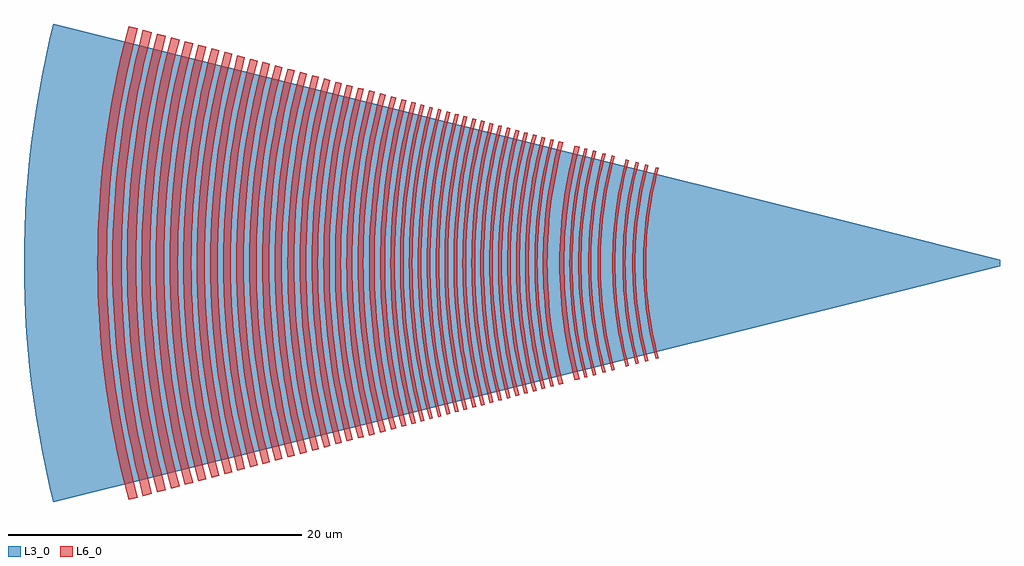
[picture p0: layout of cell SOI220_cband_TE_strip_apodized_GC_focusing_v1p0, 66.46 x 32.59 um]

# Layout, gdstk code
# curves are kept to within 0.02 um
import gdstk
lib = gdstk.Library(unit=1e-6, precision=1e-09)
def P(c, l, *ps):  # polygons
    for p in ps: c.add(gdstk.Polygon(p, *l))
L3_0 = (3, 0)
L6_0 = (6, 0)

soi220_cband_te_strip_ap = lib.new_cell('SOI220_cband_TE_strip_apodized_GC_focusing_v1p0')
P(soi220_cband_te_strip_ap, L3_0, [(-64.455,-16.295),(-64.984,-14.005),(-65.433,-11.697),(-65.627,-10.537),(-65.954,-8.209),(-66.2,-5.871),(-66.364,-3.525),(-66.446,-1.176),(-66.456,0),(-66.446,1.176),(-66.364,3.525),(-66.2,5.871),(-65.954,8.209),(-65.627,10.537),(-65.433,11.697),(-64.984,14.005),(-64.455,16.295),(0,0.225),(0,-0.225)])
P(soi220_cband_te_strip_ap, L6_0, [(-23.44,-6.52),(-23.835,-4.808),(-24.111,-3.071),(-24.264,-1.319),(-24.298,0),(-24.264,1.319),(-24.111,3.071),(-23.835,4.808),(-23.44,6.52),(-23.246,6.47),(-23.639,4.77),(-23.912,3.047),(-24.064,1.308),(-24.098,0),(-24.064,-1.308),(-23.912,-3.047),(-23.639,-4.77),(-23.246,-6.47)],
  [(-24.146,-6.71),(-24.463,-5.391),(-24.777,-3.609),(-24.966,-1.809),(-25.029,0),(-24.966,1.809),(-24.777,3.609),(-24.463,5.391),(-24.146,6.71),(-23.952,6.66),(-24.267,5.35),(-24.579,3.581),(-24.766,1.795),(-24.829,0),(-24.766,-1.795),(-24.579,-3.581),(-24.267,-5.35),(-23.952,-6.66)],
  [(-24.794,-6.883),(-25.211,-5.076),(-25.502,-3.242),(-25.636,-1.856),(-25.7,0),(-25.636,1.856),(-25.502,3.242),(-25.211,5.076),(-24.794,6.883),(-24.6,6.833),(-25.015,5.038),(-25.243,3.674),(-25.436,1.842),(-25.5,0),(-25.436,-1.842),(-25.243,-3.674),(-25.015,-5.038),(-24.6,-6.833)],
  [(-25.466,-7.063),(-25.799,-5.675),(-26.129,-3.799),(-26.329,-1.904),(-26.395,0),(-26.329,1.904),(-26.129,3.799),(-25.799,5.675),(-25.466,7.063),(-25.272,7.013),(-25.697,5.17),(-25.993,3.302),(-26.158,1.418),(-26.195,0),(-26.158,-1.418),(-25.993,-3.302),(-25.697,-5.17),(-25.272,-7.013)],
  [(-26.432,-7.322),(-26.875,-5.399),(-27.185,-3.448),(-27.327,-1.974),(-27.395,0),(-27.327,1.974),(-27.185,3.448),(-26.875,5.399),(-26.432,7.322),(-26.238,7.272),(-26.679,5.361),(-26.986,3.424),(-27.127,1.96),(-27.195,0),(-27.127,-1.96),(-26.986,-3.424),(-26.679,-5.361),(-26.238,-7.272)],
  [(-27.048,-7.487),(-27.501,-5.521),(-27.817,-3.527),(-27.994,-1.514),(-28.033,0),(-27.994,1.514),(-27.817,3.527),(-27.501,5.521),(-27.048,7.487),(-26.854,7.437),(-27.305,5.483),(-27.619,3.502),(-27.794,1.504),(-27.833,0),(-27.794,-1.504),(-27.619,-3.502),(-27.305,-5.483),(-26.854,-7.437)],
  [(-27.701,-7.662),(-28.165,-5.65),(-28.489,-3.608),(-28.669,-1.55),(-28.709,0),(-28.669,1.55),(-28.489,3.608),(-28.165,5.65),(-27.701,7.662),(-27.507,7.612),(-27.969,5.612),(-28.223,4.093),(-28.437,2.052),(-28.509,0),(-28.437,-2.052),(-28.223,-4.093),(-27.969,-5.612),(-27.507,-7.612)],
  [(-28.286,-7.819),(-28.76,-5.766),(-29.09,-3.682),(-29.242,-2.108),(-29.315,0),(-29.242,2.108),(-29.09,3.682),(-28.76,5.766),(-28.286,7.819),(-28.092,7.769),(-28.564,5.728),(-28.823,4.178),(-29.042,2.094),(-29.115,0),(-29.042,-2.094),(-28.823,-4.178),(-28.564,-5.728),(-28.092,-7.769)],
  [(-28.947,-7.995),(-29.325,-6.424),(-29.7,-4.3),(-29.925,-2.155),(-30,0),(-29.925,2.155),(-29.7,4.3),(-29.325,6.424),(-28.947,7.995),(-28.623,7.911),(-28.997,6.355),(-29.368,4.254),(-29.591,2.132),(-29.665,0),(-29.591,-2.132),(-29.368,-4.254),(-28.997,-6.355),(-28.623,-7.911)],
  [(-30.036,-8.287),(-30.538,-6.112),(-30.889,-3.903),(-31.084,-1.676),(-31.127,0),(-31.084,1.676),(-30.889,3.903),(-30.538,6.112),(-30.036,8.287),(-29.734,8.209),(-30.232,6.052),(-30.579,3.865),(-30.772,1.66),(-30.815,0),(-30.772,-1.66),(-30.579,-3.865),(-30.232,-6.052),(-29.734,-8.209)],
  [(-30.582,-8.434),(-30.857,-7.332),(-31.093,-6.219),(-31.291,-5.099),(-31.45,-3.972),(-31.648,-1.705),(-31.692,0),(-31.648,1.705),(-31.45,3.972),(-31.291,5.099),(-31.093,6.219),(-30.857,7.332),(-30.582,8.434),(-30.388,8.384),(-30.662,7.287),(-30.897,6.181),(-31.251,3.948),(-31.448,1.695),(-31.492,0),(-31.448,-1.695),(-31.251,-3.948),(-30.897,-6.181),(-30.662,-7.287),(-30.388,-8.384)],
  [(-31.206,-8.601),(-31.487,-7.477),(-31.727,-6.343),(-32.015,-4.626),(-32.156,-3.474),(-32.257,-2.319),(-32.318,-1.16),(-32.338,0),(-32.318,1.16),(-32.257,2.319),(-32.156,3.474),(-32.015,4.626),(-31.727,6.343),(-31.487,7.477),(-31.206,8.601),(-30.96,8.537),(-31.239,7.42),(-31.478,6.294),(-31.763,4.591),(-32.004,2.301),(-32.064,1.151),(-32.084,0),(-32.064,-1.151),(-32.004,-2.301),(-31.763,-4.591),(-31.478,-6.294),(-31.239,-7.42),(-30.96,-8.537)],
  [(-31.796,-8.76),(-32.082,-7.614),(-32.328,-6.459),(-32.62,-4.711),(-32.764,-3.539),(-32.866,-2.361),(-32.929,-1.182),(-32.949,0),(-32.929,1.182),(-32.866,2.361),(-32.764,3.539),(-32.62,4.711),(-32.328,6.459),(-32.082,7.614),(-31.796,8.76),(-31.558,8.698),(-31.842,7.559),(-32.086,6.412),(-32.453,4.095),(-32.575,2.929),(-32.657,1.759),(-32.703,0),(-32.657,-1.759),(-32.575,-2.929),(-32.453,-4.095),(-32.086,-6.412),(-31.842,-7.559),(-31.558,-8.698)],
  [(-32.379,-8.916),(-32.669,-7.75),(-32.919,-6.574),(-33.217,-4.795),(-33.364,-3.601),(-33.468,-2.403),(-33.531,-1.202),(-33.552,0),(-33.531,1.202),(-33.468,2.403),(-33.364,3.601),(-33.217,4.795),(-32.919,6.574),(-32.669,7.75),(-32.379,8.916),(-32.155,8.858),(-32.444,7.698),(-32.692,6.53),(-32.9,5.354),(-33.066,4.171),(-33.238,2.387),(-33.3,1.194),(-33.321,0),(-33.3,-1.194),(-33.238,-2.387),(-33.066,-4.171),(-32.9,-5.354),(-32.692,-6.53),(-32.444,-7.698),(-32.155,-8.858)],
  [(-32.975,-9.076),(-33.404,-7.292),(-33.637,-6.09),(-33.829,-4.881),(-33.978,-3.666),(-34.084,-2.446),(-34.149,-1.224),(-34.17,0),(-34.149,1.224),(-34.084,2.446),(-33.978,3.666),(-33.829,4.881),(-33.637,6.09),(-33.404,7.292),(-32.975,9.076),(-32.733,9.013),(-33.159,7.24),(-33.391,6.047),(-33.581,4.846),(-33.729,3.64),(-33.835,2.429),(-33.899,1.215),(-33.92,0),(-33.899,-1.215),(-33.835,-2.429),(-33.729,-3.64),(-33.581,-4.846),(-33.391,-6.047),(-33.159,-7.24),(-32.733,-9.013)],
  [(-33.555,-9.231),(-33.856,-8.025),(-34.115,-6.806),(-34.423,-4.964),(-34.575,-3.729),(-34.683,-2.489),(-34.748,-1.245),(-34.77,0),(-34.748,1.245),(-34.683,2.489),(-34.575,3.729),(-34.423,4.964),(-34.115,6.806),(-33.856,8.025),(-33.555,9.231),(-33.336,9.174),(-33.636,7.974),(-33.893,6.763),(-34.108,5.545),(-34.28,4.32),(-34.458,2.473),(-34.522,1.237),(-34.544,0),(-34.522,-1.237),(-34.458,-2.473),(-34.28,-4.32),(-34.108,-5.545),(-33.893,-6.763),(-33.636,-7.974),(-33.336,-9.174)],
  [(-34.144,-9.388),(-34.449,-8.161),(-34.713,-6.923),(-35.026,-5.049),(-35.181,-3.792),(-35.29,-2.531),(-35.357,-1.266),(-35.379,0),(-35.357,1.266),(-35.29,2.531),(-35.181,3.792),(-35.026,5.049),(-34.713,6.923),(-34.449,8.161),(-34.144,9.388),(-33.92,9.33),(-34.224,8.109),(-34.486,6.879),(-34.797,5.017),(-34.951,3.768),(-35.06,2.515),(-35.126,1.258),(-35.148,0),(-35.126,-1.258),(-35.06,-2.515),(-34.951,-3.768),(-34.797,-5.017),(-34.486,-6.879),(-34.224,-8.109),(-33.92,-9.33)],
  [(-34.733,-9.546),(-35.045,-8.299),(-35.313,-7.04),(-35.631,-5.134),(-35.788,-3.857),(-35.9,-2.573),(-35.968,-1.287),(-35.99,0),(-35.968,1.287),(-35.9,2.573),(-35.788,3.857),(-35.631,5.134),(-35.313,7.04),(-35.045,8.299),(-34.733,9.546),(-34.496,9.485),(-34.806,8.244),(-35.072,6.993),(-35.294,5.733),(-35.472,4.466),(-35.656,2.556),(-35.723,1.279),(-35.745,0),(-35.695,-1.918),(-35.606,-3.194),(-35.472,-4.466),(-35.294,-5.733),(-35.072,-6.993),(-34.806,-8.244),(-34.496,-9.485)],
  [(-35.324,-9.705),(-35.783,-7.797),(-36.032,-6.513),(-36.237,-5.219),(-36.397,-3.921),(-36.51,-2.616),(-36.579,-1.309),(-36.602,0),(-36.579,1.309),(-36.51,2.616),(-36.397,3.921),(-36.237,5.219),(-36.032,6.513),(-35.783,7.797),(-35.324,9.705),(-35.086,9.643),(-35.401,8.381),(-35.671,7.109),(-35.897,5.828),(-36.078,4.541),(-36.214,3.247),(-36.305,1.95),(-36.356,0),(-36.305,-1.95),(-36.214,-3.247),(-36.078,-4.541),(-35.897,-5.828),(-35.671,-7.109),(-35.401,-8.381),(-35.086,-9.643)],
  [(-35.913,-9.862),(-36.234,-8.574),(-36.51,-7.273),(-36.742,-5.962),(-36.927,-4.645),(-37.066,-3.322),(-37.159,-1.995),(-37.211,0),(-37.159,1.995),(-37.066,3.322),(-36.927,4.645),(-36.742,5.962),(-36.51,7.273),(-36.234,8.574),(-35.913,9.862),(-35.677,9.801),(-35.996,8.519),(-36.271,7.226),(-36.501,5.924),(-36.685,4.615),(-36.875,2.642),(-36.944,1.322),(-36.967,0),(-36.944,-1.322),(-36.875,-2.642),(-36.685,-4.615),(-36.501,-5.924),(-36.271,-7.226),(-35.996,-8.519),(-35.677,-9.801)],
  [(-36.499,-10.019),(-36.826,-8.71),(-37.107,-7.388),(-37.442,-5.388),(-37.606,-4.047),(-37.723,-2.701),(-37.795,-1.351),(-37.818,0),(-37.795,1.351),(-37.723,2.701),(-37.606,4.047),(-37.442,5.388),(-37.107,7.388),(-36.826,8.71),(-36.499,10.019),(-36.267,9.959),(-36.592,8.656),(-36.871,7.342),(-37.204,5.355),(-37.367,4.022),(-37.484,2.684),(-37.555,1.343),(-37.578,0),(-37.555,-1.343),(-37.484,-2.684),(-37.367,-4.022),(-37.204,-5.355),(-36.871,-7.342),(-36.592,-8.656),(-36.267,-9.959)],
  [(-37.081,-10.175),(-37.562,-8.176),(-37.823,-6.828),(-38.039,-5.473),(-38.206,-4.111),(-38.325,-2.743),(-38.397,-1.372),(-38.421,0),(-38.397,1.372),(-38.325,2.743),(-38.206,4.111),(-38.039,5.473),(-37.823,6.828),(-37.562,8.176),(-37.081,10.175),(-36.853,10.116),(-37.331,8.127),(-37.591,6.787),(-37.805,5.44),(-37.971,4.086),(-38.09,2.727),(-38.161,1.364),(-38.185,0),(-38.161,-1.364),(-38.09,-2.727),(-37.971,-4.086),(-37.805,-5.44),(-37.591,-6.787),(-37.331,-8.127),(-36.853,-10.116)],
  [(-37.668,-10.333),(-38.157,-8.302),(-38.422,-6.934),(-38.641,-5.557),(-38.811,-4.174),(-38.931,-2.786),(-39.005,-1.393),(-39.029,0),(-39.005,1.393),(-38.931,2.786),(-38.811,4.174),(-38.641,5.557),(-38.422,6.934),(-38.157,8.302),(-37.668,10.333),(-37.438,10.273),(-37.924,8.253),(-38.188,6.893),(-38.405,5.524),(-38.574,4.149),(-38.694,2.769),(-38.767,1.385),(-38.791,0),(-38.767,-1.385),(-38.694,-2.769),(-38.574,-4.149),(-38.405,-5.524),(-38.188,-6.893),(-37.924,-8.253),(-37.438,-10.273)],
  [(-38.256,-10.491),(-38.751,-8.429),(-39.022,-7.039),(-39.243,-5.641),(-39.415,-4.238),(-39.538,-2.828),(-39.612,-1.415),(-39.637,0),(-39.612,1.415),(-39.538,2.828),(-39.415,4.238),(-39.243,5.641),(-39.022,7.039),(-38.751,8.429),(-38.256,10.491),(-38.037,10.434),(-38.378,9.068),(-38.799,7),(-39.019,5.61),(-39.19,4.214),(-39.356,2.11),(-39.411,0),(-39.356,-2.11),(-39.19,-4.214),(-39.019,-5.61),(-38.799,-7),(-38.378,-9.068),(-38.037,-10.434)],
  [(-38.844,-10.648),(-39.347,-8.555),(-39.621,-7.146),(-39.846,-5.726),(-40.021,-4.301),(-40.145,-2.871),(-40.221,-1.436),(-40.246,0),(-40.221,1.436),(-40.145,2.871),(-40.021,4.301),(-39.846,5.726),(-39.621,7.146),(-39.347,8.555),(-38.844,10.648),(-38.612,10.588),(-38.958,9.202),(-39.385,7.104),(-39.608,5.693),(-39.782,4.276),(-39.95,2.141),(-40.006,0),(-39.95,-2.141),(-39.782,-4.276),(-39.608,-5.693),(-39.385,-7.104),(-38.958,-9.202),(-38.612,-10.588)],
  [(-39.425,-10.804),(-39.936,-8.68),(-40.213,-7.25),(-40.442,-5.81),(-40.62,-4.364),(-40.746,-2.913),(-40.823,-1.457),(-40.848,0),(-40.823,1.457),(-40.746,2.913),(-40.62,4.364),(-40.442,5.81),(-40.213,7.25),(-39.936,8.68),(-39.425,10.804),(-39.196,10.744),(-39.547,9.338),(-39.848,7.921),(-40.1,6.494),(-40.384,4.339),(-40.554,2.173),(-40.611,0),(-40.554,-2.173),(-40.384,-4.339),(-40.1,-6.494),(-39.848,-7.921),(-39.547,-9.338),(-39.196,-10.744)],
  [(-40.06,-10.973),(-40.418,-9.539),(-40.725,-8.091),(-40.981,-6.634),(-41.188,-5.168),(-41.343,-3.696),(-41.446,-2.219),(-41.504,0),(-41.446,2.219),(-41.343,3.696),(-41.188,5.168),(-40.981,6.634),(-40.725,8.091),(-40.418,9.539),(-40.06,10.973),(-39.778,10.9),(-40.134,9.474),(-40.439,8.036),(-40.694,6.588),(-40.899,5.133),(-41.053,3.671),(-41.155,2.204),(-41.213,0),(-41.155,-2.204),(-41.053,-3.671),(-40.899,-5.133),(-40.694,-6.588),(-40.439,-8.036),(-40.134,-9.474),(-39.778,-10.9)],
  [(-40.739,-11.155),(-41.102,-9.697),(-41.415,-8.226),(-41.788,-6),(-41.971,-4.506),(-42.102,-3.008),(-42.181,-1.505),(-42.207,0),(-42.181,1.505),(-42.102,3.008),(-41.971,4.506),(-41.788,6),(-41.415,8.226),(-41.102,9.697),(-40.739,11.155),(-40.412,11.07),(-40.773,9.621),(-41.083,8.161),(-41.453,5.953),(-41.635,4.471),(-41.765,2.984),(-41.843,1.493),(-41.869,0),(-41.843,-1.493),(-41.765,-2.984),(-41.635,-4.471),(-41.453,-5.953),(-41.083,-8.161),(-40.773,-9.621),(-40.412,-11.07)],
  [(-41.465,-11.349),(-41.834,-9.866),(-42.153,-8.368),(-42.419,-6.861),(-42.632,-5.345),(-42.852,-3.06),(-42.933,-1.531),(-42.959,0),(-42.933,1.531),(-42.852,3.06),(-42.632,5.345),(-42.419,6.861),(-42.153,8.368),(-41.834,9.866),(-41.465,11.349),(-41.107,11.256),(-41.639,9.042),(-41.928,7.552),(-42.166,6.053),(-42.351,4.546),(-42.483,3.034),(-42.563,1.518),(-42.589,0),(-42.563,-1.518),(-42.483,-3.034),(-42.351,-4.546),(-42.166,-6.053),(-41.928,-7.552),(-41.639,-9.042),(-41.107,-11.256)],
  [(-42.204,-11.547),(-42.58,-10.039),(-42.904,-8.515),(-43.174,-6.981),(-43.391,-5.438),(-43.615,-3.113),(-43.697,-1.557),(-43.724,0),(-43.697,1.557),(-43.615,3.113),(-43.391,5.438),(-43.174,6.981),(-42.904,8.515),(-42.58,10.039),(-42.204,11.547),(-41.838,11.452),(-42.212,9.954),(-42.533,8.443),(-42.801,6.922),(-43.016,5.392),(-43.238,3.087),(-43.319,1.544),(-43.346,0),(-43.319,-1.544),(-43.238,-3.087),(-43.016,-5.392),(-42.801,-6.922),(-42.533,-8.443),(-42.212,-9.954),(-41.838,-11.452)],
  [(-42.951,-11.747),(-43.333,-10.212),(-43.663,-8.662),(-43.938,-7.102),(-44.159,-5.532),(-44.386,-3.167),(-44.47,-1.585),(-44.497,0),(-44.47,1.585),(-44.386,3.167),(-44.159,5.532),(-43.938,7.102),(-43.663,8.662),(-43.333,10.212),(-42.951,11.747),(-42.574,11.649),(-42.954,10.125),(-43.281,8.588),(-43.554,7.041),(-43.773,5.485),(-43.937,3.923),(-44.046,2.356),(-44.108,0),(-44.046,-2.356),(-43.937,-3.923),(-43.773,-5.485),(-43.554,-7.041),(-43.281,-8.588),(-42.954,-10.125),(-42.574,-11.649)],
  [(-43.703,-11.948),(-44.093,-10.388),(-44.428,-8.811),(-44.707,-7.223),(-44.932,-5.628),(-45.163,-3.221),(-45.248,-1.612),(-45.276,0),(-45.248,1.612),(-45.163,3.221),(-44.932,5.628),(-44.707,7.223),(-44.428,8.811),(-44.093,10.388),(-43.703,11.948),(-43.317,11.848),(-43.704,10.298),(-44.036,8.735),(-44.313,7.161),(-44.536,5.579),(-44.703,3.99),(-44.814,2.396),(-44.877,0),(-44.814,-2.396),(-44.703,-3.99),(-44.536,-5.579),(-44.313,-7.161),(-44.036,-8.735),(-43.704,-10.298),(-43.317,-11.848)],
  [(-44.464,-12.152),(-44.859,-10.565),(-45.2,-8.961),(-45.485,-7.347),(-45.713,-5.724),(-45.949,-3.276),(-46.035,-1.639),(-46.063,0),(-46.035,1.639),(-45.949,3.276),(-45.713,5.724),(-45.485,7.347),(-45.2,8.961),(-44.859,10.565),(-44.464,12.152),(-44.066,12.049),(-44.459,10.472),(-44.797,8.883),(-45.079,7.283),(-45.305,5.674),(-45.539,3.247),(-45.624,1.625),(-45.652,0),(-45.624,-1.625),(-45.539,-3.247),(-45.305,-5.674),(-45.079,-7.283),(-44.797,-8.883),(-44.459,-10.472),(-44.066,-12.049)],
  [(-45.235,-12.358),(-45.638,-10.744),(-45.984,-9.114),(-46.274,-7.472),(-46.506,-5.821),(-46.746,-3.332),(-46.833,-1.667),(-46.862,0),(-46.833,1.667),(-46.746,3.332),(-46.506,5.821),(-46.274,7.472),(-45.984,9.114),(-45.638,10.744),(-45.235,12.358),(-44.825,12.252),(-45.225,10.649),(-45.568,9.033),(-45.855,7.406),(-46.085,5.769),(-46.323,3.302),(-46.409,1.652),(-46.438,0),(-46.409,-1.652),(-46.323,-3.302),(-46.085,-5.769),(-45.855,-7.406),(-45.568,-9.033),(-45.225,-10.649),(-44.825,-12.252)],
  [(-46.024,-12.569),(-46.433,-10.928),(-46.786,-9.269),(-47.206,-6.761),(-47.412,-5.078),(-47.56,-3.389),(-47.649,-1.695),(-47.678,0),(-47.649,1.695),(-47.56,3.389),(-47.412,5.078),(-47.206,6.761),(-46.786,9.269),(-46.433,10.928),(-46.024,12.569),(-45.597,12.459),(-46.003,10.829),(-46.353,9.185),(-46.769,6.7),(-46.973,5.032),(-47.12,3.358),(-47.208,1.68),(-47.237,0),(-47.208,-1.68),(-47.12,-3.358),(-46.973,-5.032),(-46.769,-6.7),(-46.353,-9.185),(-46.003,-10.829),(-45.597,-12.459)],
  [(-46.834,-12.787),(-47.437,-10.275),(-47.766,-8.582),(-48.037,-6.878),(-48.246,-5.166),(-48.397,-3.447),(-48.487,-1.725),(-48.517,0),(-48.487,1.725),(-48.397,3.447),(-48.246,5.166),(-48.037,6.878),(-47.766,8.582),(-47.437,10.275),(-46.834,12.787),(-46.391,12.672),(-46.989,10.18),(-47.315,8.502),(-47.583,6.814),(-47.791,5.118),(-47.94,3.415),(-48.029,1.709),(-48.059,0),(-48.029,-1.709),(-47.94,-3.415),(-47.791,-5.118),(-47.583,-6.814),(-47.315,-8.502),(-46.989,-10.18),(-46.391,-12.672)],
  [(-47.662,-13.009),(-48.086,-11.309),(-48.45,-9.593),(-48.755,-7.865),(-48.999,-6.127),(-49.252,-3.507),(-49.344,-1.754),(-49.374,0),(-49.344,1.754),(-49.252,3.507),(-48.999,6.127),(-48.755,7.865),(-48.45,9.593),(-48.086,11.309),(-47.662,13.009),(-47.204,12.89),(-47.625,11.203),(-47.986,9.503),(-48.288,7.791),(-48.53,6.069),(-48.78,3.474),(-48.871,1.738),(-48.901,0),(-48.871,-1.738),(-48.78,-3.474),(-48.53,-6.069),(-48.288,-7.791),(-47.986,-9.503),(-47.625,-11.203),(-47.204,-12.89)],
  [(-48.501,-13.233),(-48.932,-11.505),(-49.302,-9.758),(-49.744,-7.118),(-49.961,-5.346),(-50.118,-3.568),(-50.211,-1.785),(-50.242,0),(-50.211,1.785),(-50.118,3.568),(-49.961,5.346),(-49.744,7.118),(-49.302,9.758),(-48.932,11.505),(-48.501,13.233),(-48.032,13.112),(-48.651,10.533),(-48.988,8.797),(-49.265,7.051),(-49.48,5.295),(-49.635,3.534),(-49.727,1.768),(-49.758,0),(-49.727,-1.768),(-49.635,-3.534),(-49.48,-5.295),(-49.265,-7.051),(-48.988,-8.797),(-48.651,-10.533),(-48.032,-13.112)],
  [(-49.346,-13.46),(-49.981,-10.816),(-50.327,-9.033),(-50.612,-7.24),(-50.833,-5.438),(-50.991,-3.628),(-51.087,-1.815),(-51.118,0),(-51.087,1.815),(-50.991,3.628),(-50.833,5.438),(-50.612,7.24),(-50.327,9.033),(-49.981,10.816),(-49.346,13.46),(-48.867,13.336),(-49.497,10.713),(-49.84,8.947),(-50.122,7.171),(-50.341,5.386),(-50.497,3.594),(-50.592,1.798),(-50.623,0),(-50.592,-1.798),(-50.497,-3.594),(-50.341,-5.386),(-50.122,-7.171),(-49.84,-8.947),(-49.497,-10.713),(-48.867,-13.336)],
  [(-50.198,-13.688),(-50.643,-11.9),(-51.027,-10.094),(-51.484,-7.362),(-51.709,-5.53),(-51.87,-3.69),(-51.967,-1.847),(-51.999,0),(-51.967,1.847),(-51.87,3.69),(-51.709,5.53),(-51.484,7.362),(-51.027,10.094),(-50.643,11.9),(-50.198,13.688),(-49.709,13.561),(-50.349,10.894),(-50.698,9.098),(-50.984,7.292),(-51.207,5.477),(-51.366,3.655),(-51.462,1.829),(-51.494,0),(-51.462,-1.829),(-51.366,-3.655),(-51.207,-5.477),(-50.984,-7.292),(-50.698,-9.098),(-50.349,-10.894),(-49.709,-13.561)],
  [(-51.056,-13.917),(-51.509,-12.1),(-51.899,-10.264),(-52.364,-7.486),(-52.592,-5.623),(-52.756,-3.752),(-52.855,-1.877),(-52.887,0),(-52.855,1.877),(-52.756,3.752),(-52.592,5.623),(-52.364,7.486),(-51.899,10.264),(-51.509,12.1),(-51.056,13.917),(-50.556,13.788),(-51.207,11.076),(-51.562,9.251),(-51.853,7.414),(-52.079,5.569),(-52.241,3.716),(-52.339,1.859),(-52.371,0),(-52.339,-1.859),(-52.241,-3.716),(-52.079,-5.569),(-51.853,-7.414),(-51.562,-9.251),(-51.207,-11.076),(-50.556,-13.788)],
  [(-51.92,-14.149),(-52.588,-11.37),(-52.951,-9.495),(-53.25,-7.61),(-53.482,-5.716),(-53.649,-3.815),(-53.749,-1.908),(-53.782,0),(-53.749,1.908),(-53.649,3.815),(-53.482,5.716),(-53.25,7.61),(-52.951,9.495),(-52.588,11.37),(-51.92,14.149),(-51.41,14.017),(-52.072,11.26),(-52.432,9.404),(-52.728,7.537),(-52.958,5.661),(-53.123,3.778),(-53.222,1.89),(-53.255,0),(-53.222,-1.89),(-53.123,-3.778),(-52.958,-5.661),(-52.728,-7.537),(-52.432,-9.404),(-52.072,-11.26),(-51.41,-14.017)],
  [(-52.794,-14.383),(-53.262,-12.504),(-53.666,-10.607),(-54.002,-8.696),(-54.273,-6.775),(-54.552,-3.878),(-54.653,-1.94),(-54.687,0),(-54.653,1.94),(-54.552,3.878),(-54.273,6.775),(-54.002,8.696),(-53.666,10.607),(-53.262,12.504),(-52.794,14.383),(-52.271,14.248),(-52.736,12.383),(-53.136,10.504),(-53.469,8.612),(-53.737,6.709),(-53.938,4.798),(-54.072,2.881),(-54.147,0),(-54.072,-2.881),(-53.938,-4.798),(-53.737,-6.709),(-53.469,-8.612),(-53.136,-10.504),(-52.736,-12.383),(-52.271,-14.248)],
  [(-53.682,-14.621),(-54.159,-12.712),(-54.569,-10.783),(-54.911,-8.84),(-55.186,-6.887),(-55.47,-3.942),(-55.573,-1.972),(-55.607,0),(-55.573,1.972),(-55.47,3.942),(-55.186,6.887),(-54.911,8.84),(-54.569,10.783),(-54.159,12.712),(-53.682,14.621),(-53.145,14.482),(-53.618,12.587),(-54.024,10.677),(-54.363,8.753),(-54.635,6.819),(-54.916,3.903),(-55.018,1.953),(-55.052,0),(-55.018,-1.953),(-54.916,-3.903),(-54.635,-6.819),(-54.363,-8.753),(-54.024,-10.677),(-53.618,-12.587),(-53.145,-14.482)],
  [(-54.587,-14.863),(-55.07,-12.922),(-55.488,-10.961),(-55.836,-8.986),(-56.115,-7),(-56.403,-4.007),(-56.508,-2.005),(-56.543,0),(-56.508,2.005),(-56.403,4.007),(-56.115,7),(-55.836,8.986),(-55.488,10.961),(-55.07,12.922),(-54.587,14.863),(-54.034,14.72),(-54.729,11.825),(-55.108,9.876),(-55.419,7.915),(-55.66,5.945),(-55.833,3.967),(-55.937,1.985),(-55.972,0),(-55.937,-1.985),(-55.833,-3.967),(-55.66,-5.945),(-55.419,-7.915),(-55.108,-9.876),(-54.729,-11.825),(-54.034,-14.72)],
  [(-55.506,-15.109),(-55.998,-13.136),(-56.422,-11.143),(-56.776,-9.135),(-57.06,-7.117),(-57.353,-4.074),(-57.46,-2.038),(-57.495,0),(-57.46,2.038),(-57.353,4.074),(-57.06,7.117),(-56.776,9.135),(-56.422,11.143),(-55.998,13.136),(-55.506,15.109),(-54.938,14.962),(-55.426,13.004),(-55.846,11.031),(-56.196,9.043),(-56.477,7.045),(-56.688,5.038),(-56.829,3.026),(-56.908,0),(-56.829,-3.026),(-56.688,-5.038),(-56.477,-7.045),(-56.196,-9.043),(-55.846,-11.031),(-55.426,-13.004),(-54.938,-14.962)],
  [(-56.442,-15.359),(-56.942,-13.355),(-57.372,-11.328),(-57.733,-9.287),(-58.021,-7.234),(-58.319,-4.141),(-58.427,-2.072),(-58.463,0),(-58.427,2.072),(-58.319,4.141),(-58.021,7.234),(-57.733,9.287),(-57.372,11.328),(-56.942,13.355),(-56.442,15.359),(-55.859,15.209),(-56.355,13.219),(-56.781,11.213),(-57.138,9.193),(-57.423,7.161),(-57.718,4.099),(-57.825,2.051),(-57.861,0),(-57.825,-2.051),(-57.718,-4.099),(-57.423,-7.161),(-57.138,-9.193),(-56.781,-11.213),(-56.355,-13.219),(-55.859,-15.209)],
  [(-57.391,-15.614),(-57.899,-13.576),(-58.338,-11.515),(-58.859,-8.399),(-59.116,-6.309),(-59.299,-4.21),(-59.41,-2.107),(-59.446,0),(-59.41,2.107),(-59.299,4.21),(-59.116,6.309),(-58.859,8.399),(-58.338,11.515),(-57.899,13.576),(-57.391,15.614),(-56.794,15.46),(-57.298,13.437),(-57.732,11.397),(-58.248,8.313),(-58.502,6.244),(-58.683,4.167),(-58.793,2.085),(-58.829,0),(-58.793,-2.085),(-58.683,-4.167),(-58.502,-6.244),(-58.248,-8.313),(-57.732,-11.397),(-57.298,-13.437),(-56.794,-15.46)],
  [(-58.354,-15.873),(-58.871,-13.799),(-59.316,-11.706),(-59.846,-8.538),(-60.107,-6.412),(-60.293,-4.279),(-60.406,-2.141),(-60.443,0),(-60.406,2.141),(-60.293,4.279),(-60.107,6.412),(-59.846,8.538),(-59.316,11.706),(-58.871,13.799),(-58.354,15.873),(-57.742,15.714),(-58.255,13.657),(-58.696,11.585),(-59.22,8.45),(-59.478,6.346),(-59.663,4.235),(-59.774,2.119),(-59.811,0),(-59.774,-2.119),(-59.663,-4.235),(-59.478,-6.346),(-59.22,-8.45),(-58.696,-11.585),(-58.255,-13.657),(-57.742,-15.714)],
  [(-59.332,-16.134),(-60.093,-12.965),(-60.508,-10.828),(-60.849,-8.679),(-61.114,-6.519),(-61.304,-4.35),(-61.418,-2.177),(-61.456,0),(-61.418,2.177),(-61.304,4.35),(-61.114,6.519),(-60.849,8.679),(-60.508,10.828),(-60.093,12.965),(-59.332,16.134),(-58.706,15.972),(-59.227,13.882),(-59.675,11.775),(-60.049,9.654),(-60.349,7.521),(-60.659,4.305),(-60.771,2.154),(-60.809,0),(-60.771,-2.154),(-60.659,-4.305),(-60.349,-7.521),(-60.049,-9.654),(-59.675,-11.775),(-59.227,-13.882),(-58.706,-15.972)])

lib.write_gds('SOI220_cband_TE_strip_apodized_GC_focusing_v1p0.gds')
